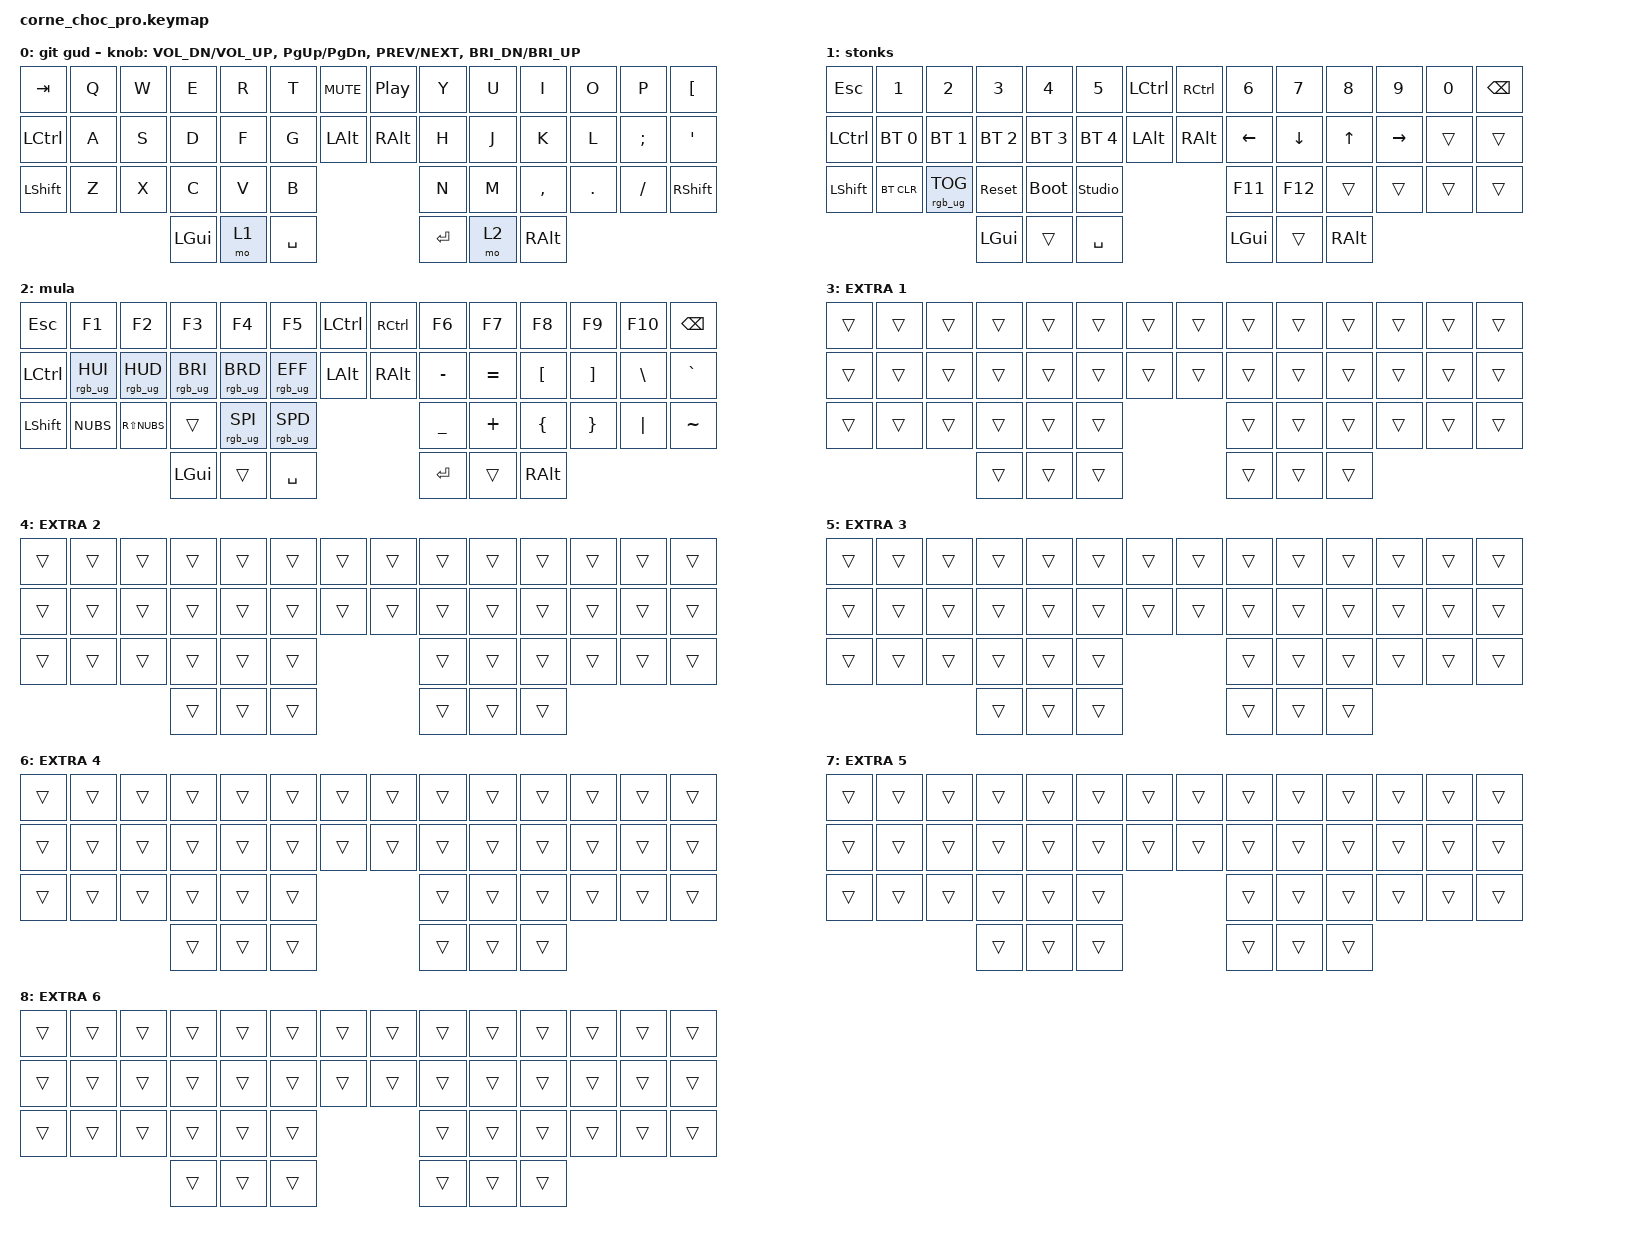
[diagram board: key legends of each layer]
/*
 * Copyright (c) 2020 The ZMK Contributors
 *
 * SPDX-License-Identifier: MIT
 */

#include <behaviors.dtsi>
#include <dt-bindings/zmk/bt.h>
#include <dt-bindings/zmk/keys.h>
#include <dt-bindings/zmk/rgb.h>

/ {
    chosen { zmk,physical-layout = &default_layout; };
};

/ {
    keymap {
        compatible = "zmk,keymap";

        default_layer {
            display-name = "git gud";

            // --------------------------------------------------------------------------------
            // |  TAB |  Q  |  W  |  E  |  R  |  T  |  MUTE |  PP   |  Y  |  U   |  I  |  O  |  P  | BSPC |
            // | CTRL |  A  |  S  |  D  |  F  |  G  |  LALT |  RALT |  H  |  J   |  K  |  L  |  ;  |  '   |
            // | SHFT |  Z  |  X  |  C  |  V  |  B  |               |  N  |  M   |  ,  |  .  |  /  | ESC  |
            //                    | GUI | LWR | SPC |               | ENT | RSE  | ALT |

            bindings = <
&kp TAB    &kp Q  &kp W  &kp E     &kp R  &kp T      &kp C_MUTE  &kp C_PP  &kp Y    &kp U  &kp I      &kp O    &kp P     &kp LBKT
&kp LCTRL  &kp A  &kp S  &kp D     &kp F  &kp G      &kp LALT    &kp RALT  &kp H    &kp J  &kp K      &kp L    &kp SEMI  &kp SQT
&kp LSHFT  &kp Z  &kp X  &kp C     &kp V  &kp B                            &kp N    &kp M  &kp COMMA  &kp DOT  &kp FSLH  &kp RIGHT_SHIFT
                         &kp LGUI  &mo 1  &kp SPACE                        &kp RET  &mo 2  &kp RALT
            >;

            sensor-bindings = <&inc_dec_kp C_VOL_DN C_VOL_UP &inc_dec_kp PG_UP PG_DN &inc_dec_kp C_PREV C_NEXT &inc_dec_kp C_BRI_DN C_BRI_UP>;
        };

        lower_layer {
            display-name = "stonks";

            // -----------------------------------------------------------------------------------------
            // |  TAB |  1  |  2  |  3  |  4  |  5    |  LCTRL | RCTRL |  6  |  7  |  8  |  9  |  0  | BSPC |
            // | CTRL | BT1 | BT2 | BT3 | BT4 | BT5   |  LALT  | RALT  | LFT | DWN |  UP | RGT |     |      |
            // | SHFT | BTCR| RGB | RST | BOOT| Unlock|        |       |     |     |     |     |     |      |
            //                    | GUI |     | SPC   |        | ENT   |     | ALT |

            bindings = <
&kp ESCAPE  &kp N1        &kp N2           &kp N3        &kp N4        &kp N5          &kp LCTRL  &kp RCTRL  &kp N6    &kp N7    &kp N8         &kp N9     &kp N0  &kp BSPC
&kp LCTRL   &bt BT_SEL 0  &bt BT_SEL 1     &bt BT_SEL 2  &bt BT_SEL 3  &bt BT_SEL 4    &kp LALT   &kp RALT   &kp LEFT  &kp DOWN  &kp UP         &kp RIGHT  &trans  &trans
&kp LSHFT   &bt BT_CLR    &rgb_ug RGB_TOG  &sys_reset    &bootloader   &studio_unlock                        &kp F11   &kp F12   &trans         &trans     &trans  &trans
                                           &kp LGUI      &trans        &kp SPACE                             &kp LGUI  &trans    &kp RIGHT_ALT
            >;
        };

        raise_layer {
            display-name = "mula";

            // -----------------------------------------------------------------------------------------
            // |  TAB |  !  |  @  |  #  |  $  |  %  | LCTRL | RCTRL |  ^  |  &  |  *  |  (  |  )  | BSPC |
            // | CTRL |     |     |     |     |     |  LALT | RALT  |  -  |  =  |  [  |  ]  |  \  |  `   |
            // | SHFT |     |     |     |     |     |               |  _  |  +  |  {  |  }  | "|" |  ~   |
            //                    | GUI |     | SPC |               | ENT |     | ALT |

            bindings = <
&kp ESCAPE  &kp F1           &kp F2           &kp F3           &kp F4           &kp F5           &kp LCTRL  &kp RCTRL  &kp F6     &kp F7     &kp F8    &kp F9    &kp F10   &kp BSPC
&kp LCTRL   &rgb_ug RGB_HUI  &rgb_ug RGB_HUD  &rgb_ug RGB_BRI  &rgb_ug RGB_BRD  &rgb_ug RGB_EFF  &kp LALT   &kp RALT   &kp MINUS  &kp EQUAL  &kp LBKT  &kp RBKT  &kp BSLH  &kp GRAVE
&kp LSHFT   &kp NUBS         &kp RS(NUBS)     &trans           &rgb_ug RGB_SPI  &rgb_ug RGB_SPD                        &kp UNDER  &kp PLUS   &kp LBRC  &kp RBRC  &kp PIPE  &kp TILDE
                                              &kp LGUI         &trans           &kp SPACE                              &kp RET    &trans     &kp RALT
            >;
        };

        extra_layer_1 {
            display-name = "EXTRA 1";
            bindings = <
&trans  &trans  &trans  &trans  &trans  &trans  &trans  &trans  &trans  &trans  &trans  &trans  &trans  &trans
&trans  &trans  &trans  &trans  &trans  &trans  &trans  &trans  &trans  &trans  &trans  &trans  &trans  &trans
&trans  &trans  &trans  &trans  &trans  &trans                  &trans  &trans  &trans  &trans  &trans  &trans
                        &trans  &trans  &trans                  &trans  &trans  &trans
            >;
        };

        extra_layer_2 {
            display-name = "EXTRA 2";
            bindings = <
&trans  &trans  &trans  &trans  &trans  &trans  &trans  &trans  &trans  &trans  &trans  &trans  &trans  &trans
&trans  &trans  &trans  &trans  &trans  &trans  &trans  &trans  &trans  &trans  &trans  &trans  &trans  &trans
&trans  &trans  &trans  &trans  &trans  &trans                  &trans  &trans  &trans  &trans  &trans  &trans
                        &trans  &trans  &trans                  &trans  &trans  &trans
            >;
        };

        extra_layer_3 {
            display-name = "EXTRA 3";
            bindings = <
&trans  &trans  &trans  &trans  &trans  &trans  &trans  &trans  &trans  &trans  &trans  &trans  &trans  &trans
&trans  &trans  &trans  &trans  &trans  &trans  &trans  &trans  &trans  &trans  &trans  &trans  &trans  &trans
&trans  &trans  &trans  &trans  &trans  &trans                  &trans  &trans  &trans  &trans  &trans  &trans
                        &trans  &trans  &trans                  &trans  &trans  &trans
            >;
        };

        extra_layer_4 {
            display-name = "EXTRA 4";
            bindings = <
&trans  &trans  &trans  &trans  &trans  &trans  &trans  &trans  &trans  &trans  &trans  &trans  &trans  &trans
&trans  &trans  &trans  &trans  &trans  &trans  &trans  &trans  &trans  &trans  &trans  &trans  &trans  &trans
&trans  &trans  &trans  &trans  &trans  &trans                  &trans  &trans  &trans  &trans  &trans  &trans
                        &trans  &trans  &trans                  &trans  &trans  &trans
            >;
        };

        extra_layer_5 {
            display-name = "EXTRA 5";
            bindings = <
&trans  &trans  &trans  &trans  &trans  &trans  &trans  &trans  &trans  &trans  &trans  &trans  &trans  &trans
&trans  &trans  &trans  &trans  &trans  &trans  &trans  &trans  &trans  &trans  &trans  &trans  &trans  &trans
&trans  &trans  &trans  &trans  &trans  &trans                  &trans  &trans  &trans  &trans  &trans  &trans
                        &trans  &trans  &trans                  &trans  &trans  &trans
            >;
        };

        extra_layer_6 {
            display-name = "EXTRA 6";
            bindings = <
&trans  &trans  &trans  &trans  &trans  &trans  &trans  &trans  &trans  &trans  &trans  &trans  &trans  &trans
&trans  &trans  &trans  &trans  &trans  &trans  &trans  &trans  &trans  &trans  &trans  &trans  &trans  &trans
&trans  &trans  &trans  &trans  &trans  &trans                  &trans  &trans  &trans  &trans  &trans  &trans
                        &trans  &trans  &trans                  &trans  &trans  &trans
            >;
        };
    };
};
